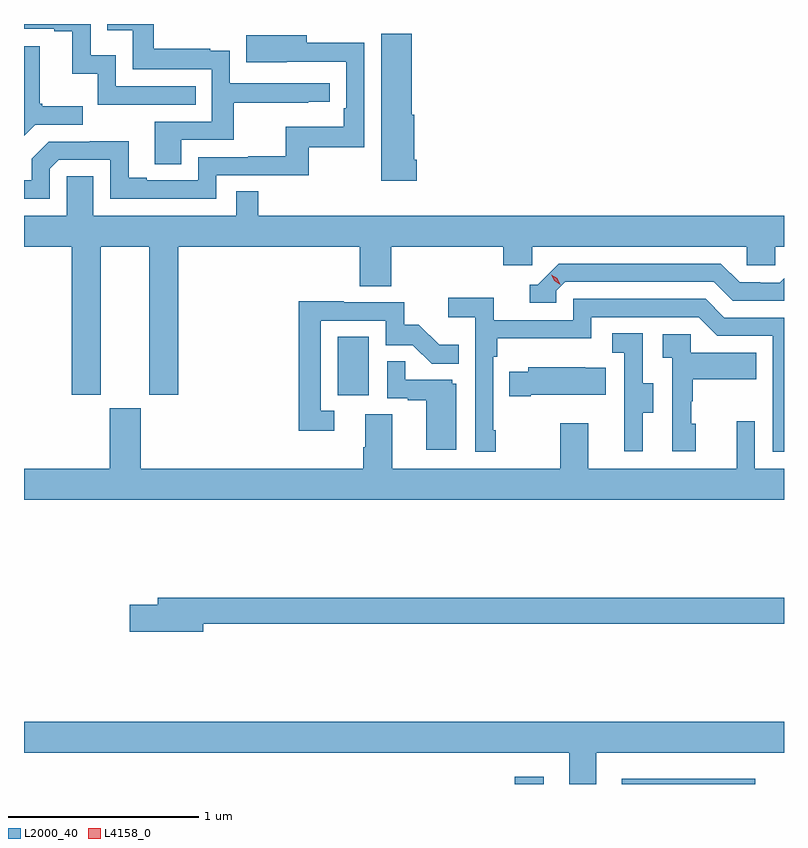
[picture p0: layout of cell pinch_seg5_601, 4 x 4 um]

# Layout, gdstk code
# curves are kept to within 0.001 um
import gdstk
lib = gdstk.Library(unit=1e-6, precision=1e-09)
def R(c, l, rs):  # rectangles x0, y0, x1, y1
    for r in rs: c.add(gdstk.rectangle(r[:2], r[2:], *l))
def P(c, l, *ps):  # polygons
    for p in ps: c.add(gdstk.Polygon(p, *l))
L2000_40 = (2000, 40)
L4158_0 = (4158, 0)

pinch_seg5_601 = lib.new_cell('pinch_seg5_601')
R(pinch_seg5_601, L2000_40, [(1091.105,855.264,1091.257,855.301), (1091.669,855.264,1092.37,855.292), (1090.172,857.31,1090.336,857.617)])
P(pinch_seg5_601, L2000_40, [(1089.425,858.936),(1089.006,858.936),(1089.006,859.099),(1088.874,859.099),(1088.874,859.264),(1088.522,859.264),(1088.522,859.239),(1088.681,859.239),(1088.681,859.227),(1088.777,859.227),(1088.777,859.001),(1088.91,859.001),(1088.91,858.84),(1089.425,858.84)],
  [(1089.349,858.654),(1089.626,858.654),(1089.626,858.85),(1090.019,858.85),(1090.019,858.855),(1090.132,858.855),(1090.132,858.951),(1089.606,858.951),(1089.606,859.123),(1089.503,859.123),(1089.503,859.135),(1089.205,859.135),(1089.205,859.264),(1088.959,859.264),(1088.959,859.232),(1089.094,859.232),(1089.094,859.026),(1089.51,859.026),(1089.51,858.75),(1089.209,858.75),(1089.209,858.526),(1089.349,858.526)],
  [(1090.589,858.55),(1090.576,858.55),(1090.576,858.786),(1090.564,858.786),(1090.564,859.213),(1090.403,859.213),(1090.403,858.438),(1090.589,858.438)],
  [(1088.658,858.501),(1088.706,858.549),(1088.976,858.549),(1088.976,858.345),(1089.534,858.345),(1089.534,858.468),(1090.021,858.468),(1090.021,858.615),(1090.314,858.615),(1090.314,859.166),(1090.009,859.166),(1090.009,859.204),(1089.691,859.204),(1089.691,859.064),(1090.218,859.065),(1090.218,858.82),(1090.205,858.82),(1090.205,858.724),(1089.9,858.724),(1089.9,858.569),(1089.703,858.569),(1089.703,858.564),(1089.438,858.564),(1089.438,858.441),(1089.169,858.441),(1089.169,858.454),(1089.073,858.454),(1089.073,858.647),(1088.868,858.647),(1088.868,858.645),(1088.652,858.645),(1088.562,858.555),(1088.562,858.441),(1088.522,858.441),(1088.522,858.345),(1088.658,858.345)],
  [(1088.58,858.735),(1088.83,858.735),(1088.83,858.832),(1088.617,858.832),(1088.617,858.844),(1088.605,858.844),(1088.605,859.147),(1088.522,859.147),(1088.522,858.677)],
  [(1088.926,858.092),(1089.182,858.092),(1089.182,857.313),(1089.335,857.313),(1089.335,858.092),(1090.289,858.092),(1090.289,857.884),(1090.454,857.884),(1090.454,858.092),(1091.045,858.092),(1091.045,857.994),(1091.196,857.994),(1091.196,858.092),(1092.327,858.092),(1092.327,857.994),(1092.477,857.994),(1092.477,858.092),(1092.522,858.092),(1092.522,858.256),(1089.755,858.256),(1089.755,858.383),(1089.639,858.383),(1089.639,858.256),(1088.887,858.256),(1088.887,858.464),(1088.748,858.464),(1088.748,858.256),(1088.522,858.256),(1088.522,858.092),(1088.774,858.092),(1088.774,857.313),(1088.926,857.313)],
  [(1091.322,857.859),(1091.37,857.907),(1092.153,857.907),(1092.252,857.808),(1092.522,857.808),(1092.522,857.925),(1092.499,857.901),(1092.396,857.901),(1092.396,857.904),(1092.289,857.904),(1092.19,858.003),(1091.337,858.003),(1091.226,857.892),(1091.183,857.892),(1091.183,857.796),(1091.322,857.796)],
  [(1091.005,857.125),(1090.992,857.125),(1090.992,857.513),(1091.012,857.513),(1091.012,857.609),(1091.508,857.609),(1091.508,857.721),(1092.072,857.721),(1092.171,857.622),(1092.462,857.622),(1092.462,857.013),(1092.522,857.013),(1092.522,857.718),(1092.208,857.718),(1092.109,857.817),(1091.412,857.817),(1091.412,857.706),(1090.994,857.706),(1090.994,857.822),(1090.755,857.822),(1090.755,857.72),(1090.896,857.72),(1090.896,857.013),(1091.005,857.013)],
  [(1090.156,857.229),(1090.083,857.229),(1090.083,857.703),(1090.425,857.703),(1090.425,857.574),(1090.569,857.574),(1090.667,857.476),(1090.811,857.476),(1090.811,857.575),(1090.707,857.575),(1090.6,857.682),(1090.524,857.682),(1090.524,857.799),(1090.205,857.799),(1090.205,857.804),(1089.967,857.804),(1089.967,857.124),(1090.156,857.124)],
  [(1091.779,857.218),(1091.833,857.218),(1091.833,857.373),(1091.778,857.373),(1091.778,857.636),(1091.619,857.636),(1091.619,857.533),(1091.682,857.533),(1091.682,857.229),(1091.681,857.229),(1091.681,857.016),(1091.779,857.016)],
  [(1092.058,857.16),(1092.033,857.16),(1092.033,857.279),(1092.043,857.279),(1092.043,857.393),(1092.377,857.393),(1092.377,857.533),(1092.03,857.533),(1092.03,857.631),(1091.883,857.631),(1091.883,857.507),(1091.934,857.507),(1091.934,857.016),(1092.058,857.016)],
  [(1090.798,857.37),(1090.776,857.37),(1090.776,857.391),(1090.529,857.391),(1090.529,857.489),(1090.434,857.489),(1090.434,857.295),(1090.541,857.295),(1090.541,857.283),(1090.64,857.283),(1090.64,857.022),(1090.798,857.022)],
  [(1091.188,857.312),(1091.585,857.312),(1091.585,857.455),(1091.477,857.455),(1091.477,857.458),(1091.175,857.458),(1091.175,857.434),(1091.077,857.434),(1091.077,857.305),(1091.188,857.305)],
  [(1092.522,856.924),(1092.369,856.924),(1092.369,857.173),(1092.272,857.173),(1092.272,856.924),(1091.491,856.924),(1091.491,857.164),(1091.344,857.164),(1091.344,856.924),(1090.459,856.924),(1090.459,857.21),(1090.319,857.21),(1090.319,857.036),(1090.307,857.036),(1090.307,856.924),(1089.136,856.924),(1089.136,857.241),(1088.972,857.241),(1088.972,856.924),(1088.522,856.924),(1088.522,856.76),(1092.522,856.76)],
  [(1089.466,856.108),(1092.522,856.108),(1092.522,856.244),(1089.227,856.244),(1089.227,856.208),(1089.078,856.208),(1089.078,856.066),(1089.466,856.066)],
  [(1091.533,855.428),(1092.522,855.428),(1092.522,855.592),(1088.522,855.592),(1088.522,855.428),(1091.393,855.428),(1091.393,855.264),(1091.533,855.264)])
P(pinch_seg5_601, L4158_0, [(1091.345,857.892),(1091.314,857.912),(1091.298,857.944),(1091.298,857.944),(1091.298,857.944),(1091.329,857.925),(1091.345,857.893),(1091.345,857.892)])

lib.write_gds('pinch_seg5_601.gds')
